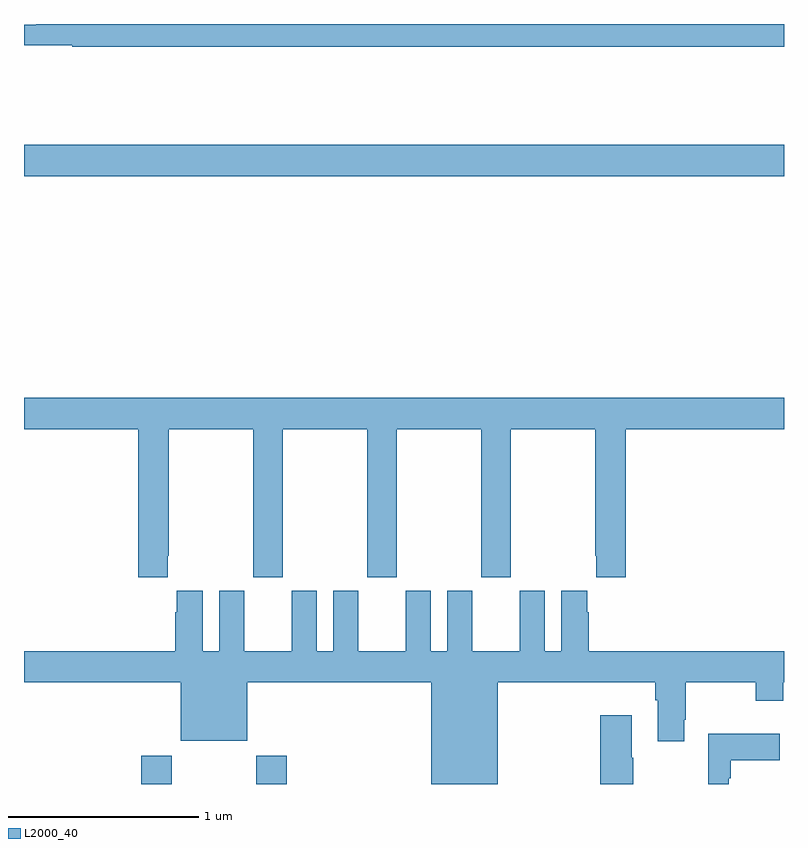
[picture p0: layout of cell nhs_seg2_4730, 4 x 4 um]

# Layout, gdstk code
import gdstk
lib = gdstk.Library(unit=1e-6, precision=1e-09)
def R(c, l, rs):  # rectangles x0, y0, x1, y1
    for r in rs: c.add(gdstk.rectangle(r[:2], r[2:], *l))
def P(c, l, *ps):  # polygons
    for p in ps: c.add(gdstk.Polygon(p, *l))
L2000_40 = (2000, 40)

nhs_seg2_4730 = lib.new_cell('nhs_seg2_4730')
R(nhs_seg2_4730, L2000_40, [(369.617,613.8,369.777,613.948), (370.222,613.8,370.382,613.948), (369,617,373,617.164)])
P(nhs_seg2_4730, L2000_40, [(373,617.8),(369.064,617.8),(369.064,617.797),(369,617.797),(369,617.688),(369.255,617.688),(369.255,617.68),(373,617.68)],
  [(369.757,615.001),(369.762,615.001),(369.762,615.668),(370.207,615.668),(370.207,614.889),(370.362,614.889),(370.362,615.668),(370.807,615.668),(370.807,614.889),(370.962,614.889),(370.962,615.668),(371.407,615.668),(371.407,614.889),(371.562,614.889),(371.562,615.668),(372.007,615.668),(372.007,615.001),(372.011,615.001),(372.011,614.889),(372.167,614.889),(372.167,615.668),(373,615.668),(373,615.832),(369,615.832),(369,615.668),(369.602,615.668),(369.602,614.889),(369.757,614.889)],
  [(371.494,614.336),(372.323,614.336),(372.323,614.24),(372.335,614.24),(372.335,614.025),(372.475,614.025),(372.475,614.137),(372.483,614.137),(372.483,614.336),(372.85,614.336),(372.85,614.237),(372.996,614.237),(372.996,614.336),(373,614.336),(373,614.5),(371.972,614.5),(371.972,614.705),(371.965,614.705),(371.965,614.818),(371.828,614.818),(371.828,614.5),(371.74,614.5),(371.74,614.818),(371.609,614.818),(371.609,614.5),(371.359,614.5),(371.359,614.818),(371.228,614.818),(371.228,614.5),(371.14,614.5),(371.14,614.818),(371.009,614.818),(371.009,614.5),(370.759,614.5),(370.759,614.818),(370.628,614.818),(370.628,614.5),(370.54,614.5),(370.54,614.818),(370.409,614.818),(370.409,614.5),(370.159,614.5),(370.159,614.818),(370.028,614.818),(370.028,614.5),(369.94,614.5),(369.94,614.818),(369.803,614.818),(369.803,614.705),(369.797,614.705),(369.797,614.5),(369,614.5),(369,614.336),(369.824,614.336),(369.824,614.027),(370.174,614.027),(370.174,614.336),(371.144,614.336),(371.144,613.8),(371.494,613.8)],
  [(372.207,613.937),(372.199,613.937),(372.199,614.161),(372.032,614.161),(372.032,613.8),(372.207,613.8)],
  [(372.708,613.829),(372.721,613.829),(372.721,613.925),(372.977,613.925),(372.977,614.065),(372.6,614.065),(372.6,613.8),(372.708,613.8)])

lib.write_gds('nhs_seg2_4730.gds')
